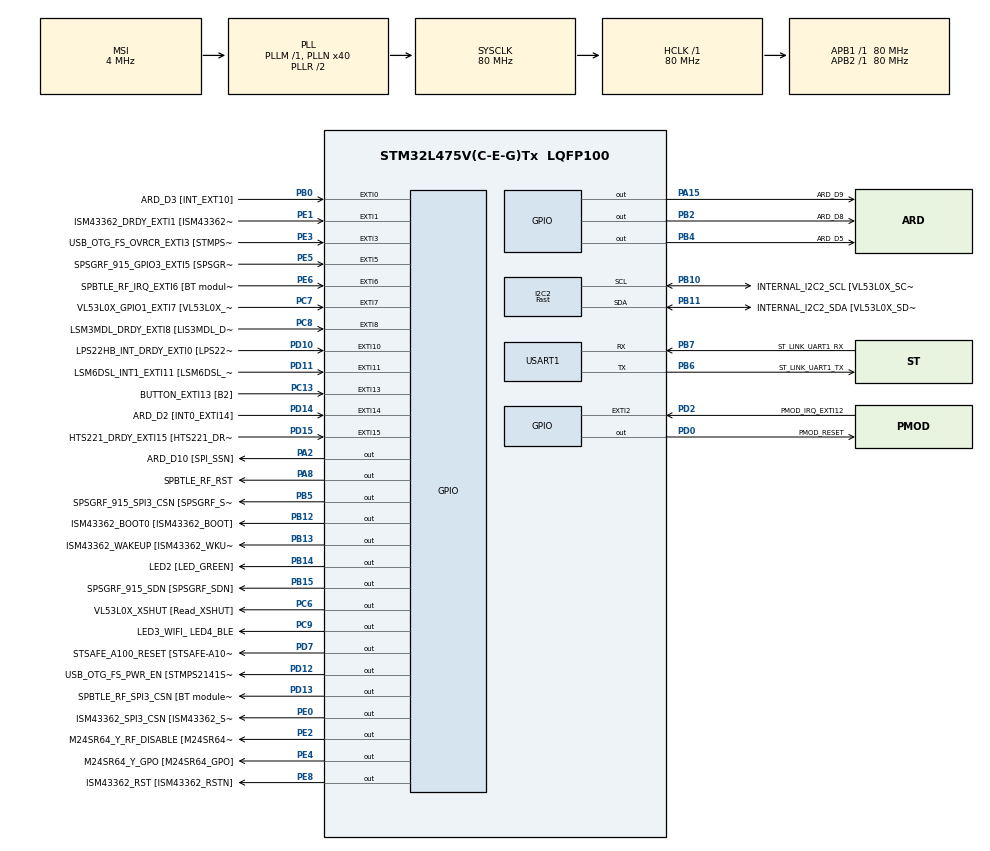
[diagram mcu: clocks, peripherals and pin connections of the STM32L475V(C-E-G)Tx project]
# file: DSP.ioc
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I2C2.I2C_Speed_Mode=I2C_Fast
I2C2.Timing=0x00F12981
Mcu.Family=STM32L4
Mcu.Name=STM32L475V(C-E-G)Tx
Mcu.Package=LQFP100
NVIC.EXTI15_10_IRQn=true\:0\:0\:false\:false\:true\:true\:true\:true
NVIC.EXTI9_5_IRQn=true\:0\:0\:false\:false\:true\:true\:true\:true
NVIC.PriorityGroup=NVIC_PRIORITYGROUP_4
NVIC.TIM2_IRQn=true\:0\:0\:false\:false\:true\:true\:true\:true
PA0.GPIO_Label=ARD_D1 [UART4_TX]
PA0.Signal=UART4_TX
PA1.GPIO_Label=ARD_D0 [UART4_RX]
PA1.Signal=UART4_RX
PA10.GPIO_Label=USB_OTG_FS_ID
PA10.Signal=USB_OTG_FS_ID
PA11.GPIO_Label=USB_OTG_FS_DM
PA11.Signal=USB_OTG_FS_DM
PA12.GPIO_Label=USB_OTG_FS_DP
PA12.Signal=USB_OTG_FS_DP
PA13\ (JTMS-SWDIO).GPIO_Label=SYS_JTMS_SWDIO
PA13\ (JTMS-SWDIO).Signal=SYS_JTMS-SWDIO
PA14\ (JTCK-SWCLK).GPIO_Label=SYS_JTCK_SWCLK
PA14\ (JTCK-SWCLK).Signal=SYS_JTCK-SWCLK
PA15\ (JTDI).GPIO_Label=ARD_D9
PA15\ (JTDI).Signal=GPIO_Output
PA2.GPIO_Label=ARD_D10 [SPI_SSN]
PA2.Signal=GPIO_Output
PA3.GPIO_Label=ARD_D4
PA3.Signal=S_TIM2_CH4
PA4.GPIO_Label=ARD_D7
PA4.Signal=ADCx_IN9
PA5.GPIO_Label=ARD_D13 [SPI1_SCK]
PA5.Signal=SPI1_SCK
PA6.GPIO_Label=ARD_D12 [SPI1_MISO]
PA6.Signal=SPI1_MISO
PA7.GPIO_Label=ARD_D11 [SPI1_MOSI]
PA7.Signal=SPI1_MOSI
PA8.GPIO_Label=SPBTLE_RF_RST
PA8.Signal=GPIO_Output
PA9.GPIO_Label=USB_OTG_FS_VBUS [STMPS2141STR_OUT]
PA9.Signal=USB_OTG_FS_VBUS
PB0.GPIO_Label=ARD_D3 [INT_EXT10]
PB0.Signal=GPXTI0
PB1.GPIO_Label=ARD_D6 [ADC1_IN6]
PB1.Signal=ADCx_IN16
PB10.GPIO_Label=INTERNAL_I2C2_SCL [VL53L0X_SCL]
PB10.Mode=I2C
PB10.Signal=I2C2_SCL
PB11.GPIO_Label=INTERNAL_I2C2_SDA [VL53L0X_SDA]
PB11.Mode=I2C
PB11.Signal=I2C2_SDA
PB12.GPIO_Label=ISM43362_BOOT0 [ISM43362_BOOT]
PB12.Signal=GPIO_Output
PB13.GPIO_Label=ISM43362_WAKEUP [ISM43362_WKUP]
PB13.Signal=GPIO_Output
PB14.GPIO_Label=LED2 [LED_GREEN]
PB14.Signal=GPIO_Output
PB15.GPIO_Label=SPSGRF_915_SDN [SPSGRF_SDN]
PB15.Signal=GPIO_Output
PB2.GPIO_Label=ARD_D8
PB2.Signal=GPIO_Output
PB3\ (JTDO-TRACESWO).GPIO_Label=SYS_JTD0_SWO
PB3\ (JTDO-TRACESWO).Signal=SYS_JTDO-SWO
PB4\ (NJTRST).GPIO_Label=ARD_D5
PB4\ (NJTRST).Signal=GPIO_Output
PB5.GPIO_Label=SPSGRF_915_SPI3_CSN [SPSGRF_SPI_CS]
PB5.PinState=GPIO_PIN_SET
PB5.Signal=GPIO_Output
PB6.GPIO_Label=ST_LINK_UART1_TX
PB6.Mode=Asynchronous
PB6.Signal=USART1_TX
PB7.GPIO_Label=ST_LINK_UART1_RX
PB7.Mode=Asynchronous
PB7.Signal=USART1_RX
PB8.GPIO_Label=ARD_D15 [I2C1_SCL]
PB8.Signal=I2C1_SCL
PB9.GPIO_Label=ARD_D14 [I2C1_SDA]
PB9.Signal=I2C1_SDA
PC0.GPIO_Label=ARD_A5 [ADC]
PC0.Signal=ADCx_IN1
PC1.GPIO_Label=ARD_A4 [ADC]
PC1.Signal=ADCx_IN2
PC10.GPIO_Label=INTERNAL_SPI3_SCK [BT module_SPI_SCLK] [ISM43362_SCK]
PC10.Signal=SPI3_SCK
PC11.GPIO_Label=INTERNAL_SPI3_MISO [BT module_SPI_MISO] [ISM43362_MISO]
PC11.Signal=SPI3_MISO
PC12.GPIO_Label=INTERNAL_SPI3_MOSI [BT module_SPI_MOSI] [ISM43362_MOSI]
PC12.Signal=SPI3_MOSI
PC13.GPIO_Label=BUTTON_EXTI13 [B2]
PC13.GPIO_ModeDefaultEXTI=GPIO_MODE_IT_FALLING
PC13.Signal=GPXTI13
PC14-OSC32_IN\ (PC14).Signal=RCC_OSC32_IN
PC15-OSC32_OUT\ (PC15).Signal=RCC_OSC32_OUT
PC2.GPIO_Label=ARD_A3 [ADC]
PC2.Signal=ADCx_IN3
PC3.GPIO_Label=ARD_A2 [ADC]
PC3.Signal=ADCx_IN4
PC4.GPIO_Label=ARD_A1 [ADC]
PC4.Signal=ADCx_IN13
PC5.GPIO_Label=ARD_A0 [ADC]
PC5.Signal=ADCx_IN14
PC6.GPIO_Label=VL53L0X_XSHUT [Read_XSHUT]
PC6.Signal=GPIO_Output
PC7.GPIO_Label=VL53L0X_GPIO1_EXTI7 [VL53L0X_GPIO1]
PC7.Signal=GPXTI7
PC8.GPIO_Label=LSM3MDL_DRDY_EXTI8 [LIS3MDL_DRDY]
PC8.Signal=GPXTI8
PC9.GPIO_Label=LED3_WIFI_ LED4_BLE
PC9.Signal=GPIO_Output
PD0.GPIO_Label=PMOD_RESET
PD0.Signal=GPIO_Output
PD1.GPIO_Label=PMOD_SPI2_SCK
PD1.Signal=SPI2_SCK
PD10.GPIO_Label=LPS22HB_INT_DRDY_EXTI0 [LPS22HB_INT_DRDY] 
PD10.Signal=GPXTI10
PD11.GPIO_Label=LSM6DSL_INT1_EXTI11 [LSM6DSL_INT1]
PD11.Signal=GPXTI11
PD12.GPIO_Label=USB_OTG_FS_PWR_EN [STMPS2141STR_EN]
PD12.Signal=GPIO_Output
PD13.GPIO_Label=SPBTLE_RF_SPI3_CSN [BT module_SPI_CS]
PD13.PinState=GPIO_PIN_SET
PD13.Signal=GPIO_Output
PD14.GPIO_Label=ARD_D2 [INT0_EXTI14]
PD14.Signal=GPXTI14
PD15.GPIO_Label=HTS221_DRDY_EXTI15 [HTS221_DRDY]
PD15.Signal=GPXTI15
PD2.GPIO_Label=PMOD_IRQ_EXTI12
PD2.Signal=GPXTI2
PD3.GPIO_Label=PMOD_UART2_CTS
PD3.Signal=USART2_CTS
PD4.GPIO_Label=PMOD_UART2_RTS
PD4.Signal=USART2_RTS
PD5.GPIO_Label=PMOD_UART2_TX
PD5.Signal=USART2_TX
PD6.GPIO_Label=PMOD_UART2_RX
PD6.Signal=USART2_RX
PD7.GPIO_Label=STSAFE_A100_RESET [STSAFE-A100_RESET]
PD7.Signal=GPIO_Output
PD8.GPIO_Label=INTERNAL_UART3_TX [ISM43362_RX]
PD8.Signal=USART3_TX
PD9.GPIO_Label=INTERNAL_UART3_RX [ISM43362_TX]
PD9.Signal=USART3_RX
PE0.GPIO_Label=ISM43362_SPI3_CSN [ISM43362_SSN]
PE0.PinState=GPIO_PIN_SET
PE0.Signal=GPIO_Output
PE1.GPIO_Label=ISM43362_DRDY_EXTI1 [ISM43362_DATARDY]
PE1.Signal=GPXTI1
PE10.GPIO_Label=QUADSPI_CLK [MX25R6435F_SCLK]
PE10.Signal=QUADSPI_CLK
PE11.GPIO_Label=QUADSPI_NCS [MX25R6435F_SCLK]
PE11.Signal=QUADSPI_NCS
PE12.GPIO_Label=OQUADSPI_BK1_IO0 [MX25R6435F_IO0]
PE12.Signal=QUADSPI_BK1_IO0
PE13.GPIO_Label=QUADSPI_BK1_IO1 [MX25R6435F_IO1]
PE13.Signal=QUADSPI_BK1_IO1
PE14.GPIO_Label=QUAD_SPI_BK1_IO2 [MX25R6435F_IO2]
PE14.Signal=QUADSPI_BK1_IO2
PE15.GPIO_Label=QUAD_SPI_BK1_IO3 [MX25R6435F_IO3]
PE15.Signal=QUADSPI_BK1_IO3
PE2.GPIO_Label=M24SR64_Y_RF_DISABLE [M24SR64_RFDIS]
PE2.Signal=GPIO_Output
PE3.GPIO_Label=USB_OTG_FS_OVRCR_EXTI3 [STMPS2141STR_FAULT]
PE3.Signal=GPXTI3
PE4.GPIO_Label=M24SR64_Y_GPO [M24SR64_GPO]
PE4.Signal=GPIO_Output
PE5.GPIO_Label=SPSGRF_915_GPIO3_EXTI5 [SPSGRF_GPIO_3]
PE5.Signal=GPXTI5
PE6.GPIO_Label=SPBTLE_RF_IRQ_EXTI6 [BT module_SPI_IRQ]
PE6.Signal=GPXTI6
PE7.GPIO_Label=DFSDM1_DATIN2 [MP34DT01_DOUT]
PE7.Signal=S_DATAIN2DFSDM1
PE8.GPIO_Label=ISM43362_RST [ISM43362_RSTN]
PE8.Signal=GPIO_Output
PE9.GPIO_Label=DFSDM1_CKOUT [MP34DT01_CLK]
PE9.Signal=S_CKOUTDFSDM1
ProjectManager.HeapSize=0x200
ProjectManager.StackSize=0x400
ProjectManager.TargetToolchain=STM32CubeIDE
RCC.ADCFreq_Value=48000000
RCC.AHBFreq_Value=80000000
RCC.APB1Freq_Value=80000000
RCC.APB1TimFreq_Value=80000000
RCC.APB2Freq_Value=80000000
RCC.APB2TimFreq_Value=80000000
RCC.CortexFreq_Value=80000000
RCC.HCLKFreq_Value=80000000
RCC.HSE_VALUE=8000000
RCC.HSI_VALUE=16000000
RCC.LSE_VALUE=32768
RCC.MSI_VALUE=4000000
RCC.PLLN=40
RCC.PLLSAI1N=24
RCC.SYSCLKFreq_VALUE=80000000
RCC.SYSCLKSource=RCC_SYSCLKSOURCE_PLLCLK
RCC.USBFreq_Value=48000000
RCC.VCOOutputFreq_Value=160000000
SH.ADCx_IN1.0=ADC1_IN1
SH.ADCx_IN13.0=ADC1_IN13
SH.ADCx_IN14.0=ADC1_IN14
SH.ADCx_IN16.0=ADC1_IN16
SH.ADCx_IN2.0=ADC1_IN2
SH.ADCx_IN3.0=ADC1_IN3
SH.ADCx_IN4.0=ADC1_IN4
SH.ADCx_IN9.0=ADC1_IN9
SH.S_CKOUTDFSDM1.0=DFSDM1_CKOUT
SH.S_DATAIN2DFSDM1.0=DFSDM1_DATIN2
SH.S_TIM2_CH4.0=TIM2_CH4
TIM2.Period=9999
TIM2.Prescaler=79
USART1.VirtualMode-Asynchronous=VM_ASYNC
VP_TIM2_VS_ClockSourceINT.Mode=Internal
board=B-L475E-IOT01A1

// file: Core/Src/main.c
/* USER CODE BEGIN Header */
/**
  ******************************************************************************
  * @file           : main.c
  * @brief          : Main program body
  ******************************************************************************
  * @attention
  *
  * Copyright (c) 2026 STMicroelectronics.
  * All rights reserved.
  *
  * This software is licensed under terms that can be found in the LICENSE file
  * in the root directory of this software component.
  * If no LICENSE file comes with this software, it is provided AS-IS.
  *
  ******************************************************************************
  */
/* USER CODE END Header */
#include "main.h"
#include "i2c.h"
#include "tim.h"
#include "usart.h"
#include "gpio.h"

/* USER CODE BEGIN Includes */
#include "arm_math.h"
#include "math_helper.h"
#include "imu.h"
#include <stdio.h>
/* USER CODE END Includes */

/* USER CODE BEGIN PD */
/* ---- FIR lowpass example (from CMSIS-DSP arm_fir_example_f32.c) ---- */
#define TEST_LENGTH_SAMPLES  320
#define SNR_THRESHOLD_F32    140.0f
#define BLOCK_SIZE            32
#define NUM_TAPS              29

/* ---- real accelerometer data ---- */
#define ACC_FS_HZ            100   /* TIM2 取樣率 (Hz)：PSC=79, ARR=9999 -> 80MHz/80/10000 */
#define ACC_CUTOFF_HZ          5   /* FIR 截止頻率 (Hz) */
#define ACC_NUM_TAPS          29   /* 係數個數 = 每筆輸出回看幾筆 */
#define ACC_BLOCK_SIZE        32   /* 一次 arm_fir_f32 處理幾筆 */
#define ACC_CAPTURE_LEN      512   /* 必須是 ACC_BLOCK_SIZE 的整數倍 (512/32 = 16 blocks) */
#define ACC_AXIS               2   /* 0 = X, 1 = Y, 2 = Z */
/* USER CODE END PD */

/* USER CODE BEGIN PV */

/* ---- FIR example state ---- */
arm_fir_instance_f32 S;
arm_status status;
float32_t *inputF32;
float32_t *outputF32;
uint32_t i;

/* input signal (1 kHz + 15 kHz) and MATLAB reference output, in arm_fir_data.c */
extern float32_t testInput_f32_1kHz_15kHz[TEST_LENGTH_SAMPLES];
extern float32_t refOutput[TEST_LENGTH_SAMPLES];

static float32_t testOutput[TEST_LENGTH_SAMPLES];
static float32_t firStateF32[BLOCK_SIZE + NUM_TAPS - 1];

/* fir1(28, 6/24) : fs = 48 kHz, cutoff = 6 kHz, 29 taps */
const float32_t firCoeffs32[NUM_TAPS] = {
  -0.0018225230f, -0.0015879294f, +0.0000000000f, +0.0036977508f, +0.0080754303f, +0.0085302217f, -0.0000000000f, -0.0173976984f,
  -0.0341458607f, -0.0333591565f, +0.0000000000f, +0.0676308395f, +0.1522061835f, +0.2229246956f, +0.2504960933f, +0.2229246956f,
  +0.1522061835f, +0.0676308395f, +0.0000000000f, -0.0333591565f, -0.0341458607f, -0.0173976984f, -0.0000000000f, +0.0085302217f,
  +0.0080754303f, +0.0036977508f, +0.0000000000f, -0.0015879294f, -0.0018225230f
};

uint32_t blockSize = BLOCK_SIZE;
uint32_t numBlocks = TEST_LENGTH_SAMPLES / BLOCK_SIZE;
float32_t snr;

/* ---- real accelerometer data ---- */
/* firwin(29, 5, fs=100)：fs = 100 Hz、cutoff = 5 Hz、Hamming window、DC gain = 1.0 */
const float32_t accCoeffs32[ACC_NUM_TAPS] = {
  -0.0017925669f, -0.0018788835f, -0.0020285056f, -0.0016712100f, +0.0000000000f, +0.0038552603f, +0.0106060380f, +0.0205854550f,
  +0.0335846185f, +0.0487894686f, +0.0648420439f, +0.0800227460f, +0.0925224259f, +0.1007515124f, +0.1036231948f, +0.1007515124f,
  +0.0925224259f, +0.0800227460f, +0.0648420439f, +0.0487894686f, +0.0335846185f, +0.0205854550f, +0.0106060380f, +0.0038552603f,
  +0.0000000000f, -0.0016712100f, -0.0020285056f, -0.0018788835f, -0.0017925669f
};

arm_fir_instance_f32 Sacc;
static float32_t accStateF32[ACC_BLOCK_SIZE + ACC_NUM_TAPS - 1];   /* 32 + 29 - 1 = 60 */
static float32_t accRaw[ACC_CAPTURE_LEN];
static float32_t accFilt[ACC_CAPTURE_LEN];

volatile uint8_t  acc_tick   = 0;   /* 由 TIM2 中斷設定 */
volatile uint32_t acc_missed = 0;   /* 來不及處理而漏掉的樣本數 */
/* USER CODE END PV */

void SystemClock_Config(void);
/* USER CODE BEGIN PFP */

static void print_f32(const char *label, float32_t v, const char *unit);
static void acc_capture_and_filter(void);
static void acc_dump_csv(void);
int __io_putchar(int ch);
/* USER CODE END PFP */

int main(void)
{

  /* MCU Configuration--------------------------------------------------------*/

  /* Reset of all peripherals, Initializes the Flash interface and the Systick. */
  HAL_Init();

  /* Configure the system clock */
  SystemClock_Config();

  /* Initialize all configured peripherals */
  MX_GPIO_Init();
  MX_I2C2_Init();
  MX_TIM2_Init();
  MX_USART1_UART_Init();
  /* USER CODE BEGIN 2 */
  setvbuf(stdout, NULL, _IONBF, 0);   /* unbuffered: printf goes out immediately */

  printf("\r\n=== CMSIS-DSP FIR lowpass example (f32) ===\r\n");
  printf("fs = 48 kHz, input = 1 kHz + 15 kHz, cutoff = 6 kHz, %d taps\r\n", NUM_TAPS);
  printf("samples = %lu, block size = %lu, blocks = %lu\r\n\r\n",
         (unsigned long)TEST_LENGTH_SAMPLES, (unsigned long)blockSize, (unsigned long)numBlocks);

  /* Initialize input and output buffer pointers */
  inputF32  = &testInput_f32_1kHz_15kHz[0];
  outputF32 = &testOutput[0];

  /* Call FIR init function to initialize the instance structure. */
  arm_fir_init_f32(&S, NUM_TAPS, (float32_t *)&firCoeffs32[0], &firStateF32[0], blockSize);

  /* Call the FIR process function for every blockSize samples */
  for (i = 0; i < numBlocks; i++)
  {
    arm_fir_f32(&S, inputF32 + (i * blockSize), outputF32 + (i * blockSize), blockSize);
  }

  /* Compare the generated output against the reference output computed in MATLAB */
  snr = arm_snr_f32(&refOutput[0], &testOutput[0], TEST_LENGTH_SAMPLES);

  status = (snr < SNR_THRESHOLD_F32) ? ARM_MATH_TEST_FAILURE : ARM_MATH_SUCCESS;

  print_f32("SNR vs MATLAB reference = ", snr, " dB\r\n");
  printf("threshold = 140.000 dB  ->  %s\r\n\r\n",
         (status == ARM_MATH_SUCCESS) ? "PASS" : "FAIL");

  /* Dump a window of samples so the filtering can be checked visually / plotted */
  printf("idx,input,output,reference\r\n");
  for (i = 0; i < 64; i++)
  {
    printf("%lu,  ", (unsigned long)i);
    print_f32("", inputF32[i],    ",");
    print_f32("", testOutput[i],  ",");
    print_f32("", refOutput[i],   "\r\n");
  }
  printf("\r\n--- known-signal test done ---\r\n\r\n");

  /* ---- real sensor path: LSM6DSL over I2C2 ---- */
  if (imu_init())
  {
    printf("LSM6DSL ready, WHO_AM_I = 0x%02X, acc ODR = 104 Hz, +-2 g\r\n", imu_who_am_i);
  }
  else
  {
    printf("LSM6DSL NOT found: WHO_AM_I = 0x%02X, expected 0x6A\r\n", imu_who_am_i);
    printf("check PB10 = I2C2_SCL, PB11 = I2C2_SDA and the I2C2 clock\r\n");
  }
  /* USER CODE END 2 */

  /* Infinite loop */
  while (1)
  {

    /* USER CODE BEGIN 3 */
    uint8_t key;

    printf("\r\n=== press any key: capture %d samples of axis %c at %d Hz (%d ms) ===\r\n",
           ACC_CAPTURE_LEN, "XYZ"[ACC_AXIS], ACC_FS_HZ,
           ACC_CAPTURE_LEN * 1000 / ACC_FS_HZ);
    HAL_UART_Receive(&huart1, &key, 1, HAL_MAX_DELAY);

    printf("capturing, shake the board now ...\r\n");
    acc_capture_and_filter();
    printf("captured. dropped samples = %lu\r\n", (unsigned long)acc_missed);
    printf("FIR: %d taps, cutoff %d Hz, group delay %d samples (%d ms)\r\n\r\n",
           ACC_NUM_TAPS, ACC_CUTOFF_HZ,
           (ACC_NUM_TAPS - 1) / 2, (ACC_NUM_TAPS - 1) * 1000 / 2 / ACC_FS_HZ);

    acc_dump_csv();
  }
  /* USER CODE END 3 */
}

void SystemClock_Config(void)
{
  RCC_OscInitTypeDef RCC_OscInitStruct = {0};
  RCC_ClkInitTypeDef RCC_ClkInitStruct = {0};

  /** Configure the main internal regulator output voltage
  */
  if (HAL_PWREx_ControlVoltageScaling(PWR_REGULATOR_VOLTAGE_SCALE1) != HAL_OK)
  {
    Error_Handler();
  }

  /** Initializes the RCC Oscillators according to the specified parameters
  * in the RCC_OscInitTypeDef structure.
  */
  RCC_OscInitStruct.OscillatorType = RCC_OSCILLATORTYPE_MSI;
  RCC_OscInitStruct.MSIState = RCC_MSI_ON;
  RCC_OscInitStruct.MSICalibrationValue = 0;
  RCC_OscInitStruct.MSIClockRange = RCC_MSIRANGE_6;
  RCC_OscInitStruct.PLL.PLLState = RCC_PLL_ON;
  RCC_OscInitStruct.PLL.PLLSource = RCC_PLLSOURCE_MSI;
  RCC_OscInitStruct.PLL.PLLM = 1;
  RCC_OscInitStruct.PLL.PLLN = 40;
  RCC_OscInitStruct.PLL.PLLP = RCC_PLLP_DIV7;
  RCC_OscInitStruct.PLL.PLLQ = RCC_PLLQ_DIV2;
  RCC_OscInitStruct.PLL.PLLR = RCC_PLLR_DIV2;
  if (HAL_RCC_OscConfig(&RCC_OscInitStruct) != HAL_OK)
  {
    Error_Handler();
  }

  /** Initializes the CPU, AHB and APB buses clocks
  */
  RCC_ClkInitStruct.ClockType = RCC_CLOCKTYPE_HCLK|RCC_CLOCKTYPE_SYSCLK
                              |RCC_CLOCKTYPE_PCLK1|RCC_CLOCKTYPE_PCLK2;
  RCC_ClkInitStruct.SYSCLKSource = RCC_SYSCLKSOURCE_PLLCLK;
  RCC_ClkInitStruct.AHBCLKDivider = RCC_SYSCLK_DIV1;
  RCC_ClkInitStruct.APB1CLKDivider = RCC_HCLK_DIV1;
  RCC_ClkInitStruct.APB2CLKDivider = RCC_HCLK_DIV1;

  if (HAL_RCC_ClockConfig(&RCC_ClkInitStruct, FLASH_LATENCY_4) != HAL_OK)
  {
    Error_Handler();
  }
}

/* USER CODE BEGIN 4 */

/**
  * @brief Redirect printf / putchar to USART1.
  */
int __io_putchar(int ch)
{
  uint8_t c = (uint8_t)ch;
  HAL_UART_Transmit(&huart1, &c, 1, HAL_MAX_DELAY);
  return ch;
}

/**
  * @brief TIM2 每 10 ms 觸發一次，只設 flag。
  *        不在這裡呼叫 imu_read()：HAL_I2C_Mem_Read() 是 blocking 的，
  *        而且內部用 HAL_GetTick() 判斷 timeout，在 ISR 裡等會有死鎖風險。
  */
void HAL_TIM_PeriodElapsedCallback(TIM_HandleTypeDef *htim)
{
  if (htim->Instance == TIM2)
  {
    if (acc_tick)
    {
      acc_missed++;      /* 上一筆還沒被取走就又來了 -> 漏樣本 */
    }
    acc_tick = 1;
  }
}

/**
  * @brief 以 ACC_FS_HZ 擷取 ACC_CAPTURE_LEN 筆單軸加速度，然後整段跑 FIR。
  */
static void acc_capture_and_filter(void)
{
  int32_t  acc_mg[3], gyr_mdps[3];
  uint32_t n, b;

  acc_missed = 0;
  acc_tick   = 0;

  HAL_TIM_Base_Start_IT(&htim2);
  n = 0;
  while (n < ACC_CAPTURE_LEN)
  {
    if (acc_tick)
    {
      acc_tick = 0;
      imu_read(acc_mg, gyr_mdps);
      accRaw[n++] = (float32_t)acc_mg[ACC_AXIS];
    }
  }
  HAL_TIM_Base_Stop_IT(&htim2);

  /* 真實資料用自己的 instance 和 state buffer：
     和已知訊號那組共用會讓開頭 28 筆吃到殘留值。 */
  arm_fir_init_f32(&Sacc, ACC_NUM_TAPS, (float32_t *)&accCoeffs32[0],
                   &accStateF32[0], ACC_BLOCK_SIZE);

  for (b = 0; b < ACC_CAPTURE_LEN / ACC_BLOCK_SIZE; b++)
  {
    arm_fir_f32(&Sacc, accRaw  + b * ACC_BLOCK_SIZE,
                       accFilt + b * ACC_BLOCK_SIZE, ACC_BLOCK_SIZE);
  }
}

/**
  * @brief 把擷取結果印成 CSV，可直接貼到 Excel / Python 畫圖。
  */
static void acc_dump_csv(void)
{
  uint32_t n;

  printf("idx,t_ms,raw_mg,filtered_mg\r\n");
  for (n = 0; n < ACC_CAPTURE_LEN; n++)
  {
    printf("%lu,%lu,", (unsigned long)n,
           (unsigned long)(n * 1000UL / ACC_FS_HZ));
    print_f32("", accRaw[n],  ",");
    print_f32("", accFilt[n], "\r\n");
  }
}

/**
  * @brief Print a float with 3 decimals.
  *        newlib-nano (--specs=nano.specs) does not support %f in printf,
  *        so the value is split into integer and fractional parts.
  */
static void print_f32(const char *label, float32_t v, const char *unit)
{
  int neg = (v < 0.0f);
  int ip, fp;

  if (neg)
  {
    v = -v;
  }
  ip = (int)v;
  fp = (int)((v - (float32_t)ip) * 1000.0f + 0.5f);
  if (fp >= 1000)
  {
    ip += 1;
    fp -= 1000;
  }
  printf("%s%s%d.%03d%s", label, neg ? "-" : "", ip, fp, unit);
}
/* USER CODE END 4 */

void Error_Handler(void)
{
  __disable_irq();
  while (1)
  {
  }
}
